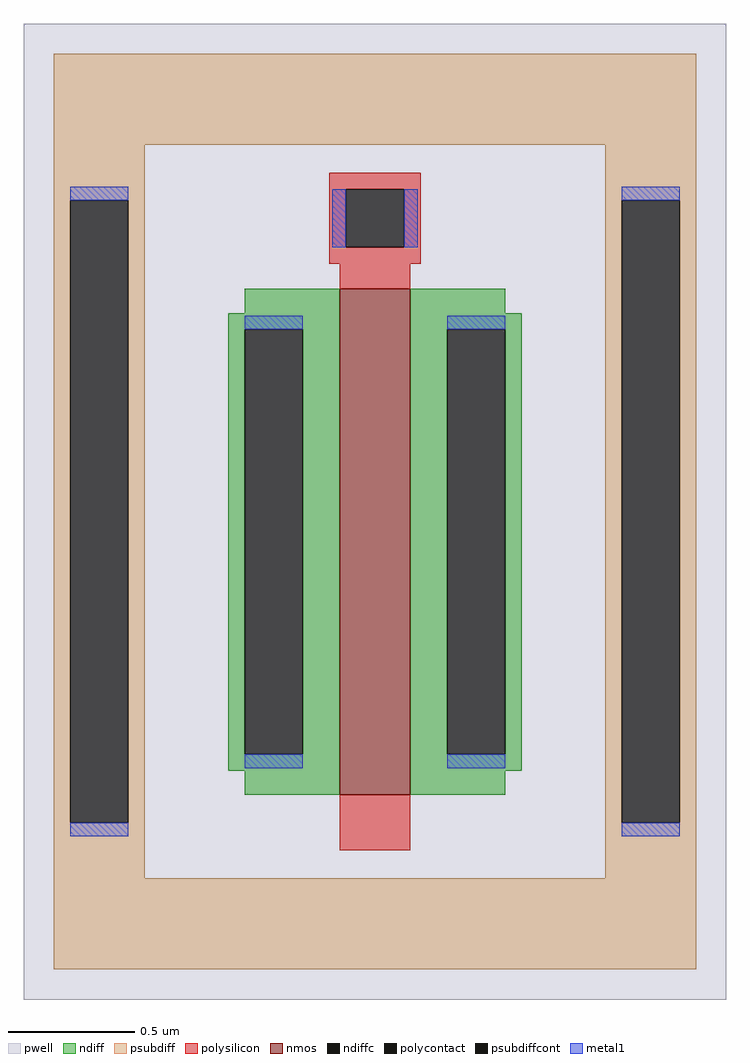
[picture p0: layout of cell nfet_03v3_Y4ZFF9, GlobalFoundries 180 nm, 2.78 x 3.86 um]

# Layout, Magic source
magic
tech gf180mcuD
magscale 1 10
<< pwell >>
rect -278 -386 278 386
<< nmos >>
rect -28 -224 28 176
<< ndiff >>
rect -103 157 -28 176
rect -116 144 -28 157
rect -116 -192 -103 144
rect -57 -192 -28 144
rect -116 -205 -28 -192
rect -103 -224 -28 -205
rect 28 157 103 176
rect 28 144 116 157
rect 28 -192 57 144
rect 103 -192 116 144
rect 28 -205 116 -192
rect 28 -224 103 -205
<< ndiffc >>
rect -103 -192 -57 144
rect 57 -192 103 144
<< psubdiff >>
rect -254 290 254 362
rect -254 246 -182 290
rect -254 -246 -241 246
rect -195 -246 -182 246
rect 182 246 254 290
rect -254 -290 -182 -246
rect 182 -246 195 246
rect 241 -246 254 246
rect 182 -290 254 -246
rect -254 -362 254 -290
<< psubdiffcont >>
rect -241 -246 -195 246
rect 195 -246 241 246
<< polysilicon >>
rect -36 255 36 268
rect -36 209 -23 255
rect 23 209 36 255
rect -36 196 36 209
rect -28 176 28 196
rect -28 -268 28 -224
<< polycontact >>
rect -23 209 23 255
<< metal1 >>
rect -241 246 -195 257
rect -34 209 -23 255
rect 23 209 34 255
rect 195 246 241 257
rect -103 144 -57 155
rect -103 -203 -57 -192
rect 57 144 103 155
rect 57 -203 103 -192
rect -241 -257 -195 -246
rect 195 -257 241 -246
<< properties >>
string FIXED_BBOX -218 -326 218 326
string gencell nfet_03v3
string library gf180mcu
string parameters w 2 l 0.280 m 1 nf 1 diffcov 90 polycov 100 guard 1 glc 1 grc 1 gtc 0 gbc 0 tbcov 100 rlcov 100 topc 1 botc 0 poverlap 0 doverlap 1 lmin 0.28 wmin 0.22 class mosfet full_metal 0 compatible {nfet_03v3 nfet_05v0 nfet_06v0 nfet_06v0_nvt}
<< end >>
